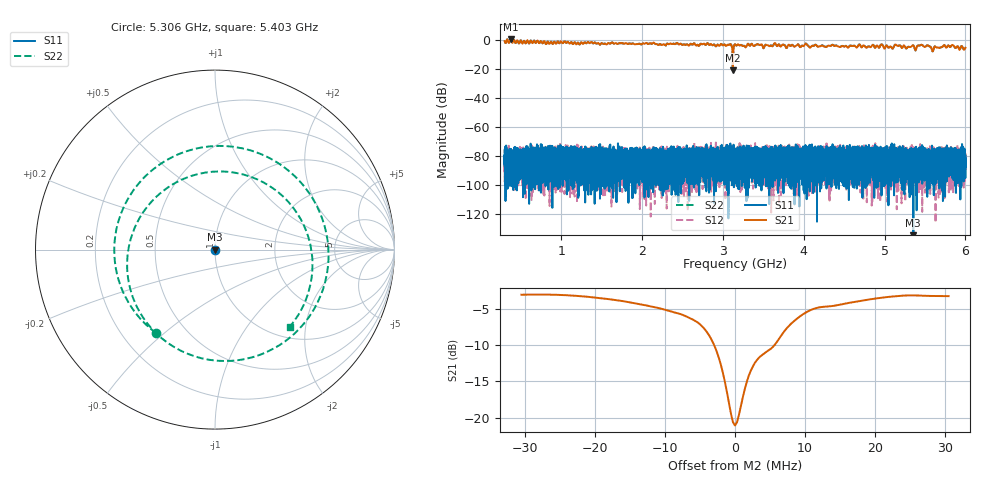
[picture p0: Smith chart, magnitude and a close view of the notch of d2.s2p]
!Agilent Technologies,N5230C,SG49000117,A.08.50.07
!Agilent N5230C: A.08.50.07
!Date: Sunday, March 17, 2024 01:27:42
!Correction: S11(Off)
!S21(Off)
!S12(Off)
!S22(Off)
!S2P File: Measurements: S11, S21, S12, S22:
# Hz S  RI  R 50
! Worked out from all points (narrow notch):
!   20001 points, 300 MHz to 6 GHz, reference 50 ohm
!   highest |S21| = 0.46 dB at 373.8 MHz (marker M1); lowest = -21.1 dB at 3.123 GHz (marker M2)
!   notch at M2: 17.6 dB deep, 5.09 MHz wide at half that depth
!   lowest |S11| = -136.3 dB at 5.356 GHz (marker M3), VSWR 1.00, Z = 50 - j9.65e-06 ohm
!   |S11| at or under -10 dB: start of sweep to end of sweep
!   |S22| runs from -21.1 to 0.5 dB; largest |S21 - S12| = 1.1
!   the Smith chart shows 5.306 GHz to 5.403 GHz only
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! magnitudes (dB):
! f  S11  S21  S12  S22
! 300 MHz  -84.8  -0.9  -86.0  -0.9
! 373.8 MHz  -79.7  0.5  -83.1  0.5
! 1.25 GHz  -76.3  -1.7  -77.7  -1.7
! 2.2 GHz  -83.5  -3.6  -76.5  -3.6
! 3.078 GHz  -78.0  -3.5  -78.9  -3.5
! 3.102 GHz  -81.3  -3.3  -80.1  -3.3
! 3.123 GHz  -75.3  -21.1  -78.8  -21.1
! 3.15 GHz  -79.4  -3.2  -76.6  -3.1
! 3.168 GHz  -78.2  -4.0  -85.9  -3.9
! 3.267 GHz  -92.6  -4.3  -81.1  -4.3
! 3.334 GHz  -82.0  -4.1  -74.3  -4.0
! 3.659 GHz  -78.8  -3.4  -79.7  -3.3
! 3.782 GHz  -81.1  -5.5  -75.2  -5.4
! 4.03 GHz  -75.2  -2.8  -84.7  -2.7
! 4.1 GHz  -95.2  -4.2  -79.8  -4.1
! 5.05 GHz  -83.5  -5.5  -78.2  -5.5
! 5.151 GHz  -88.1  -3.8  -116.8  -3.8
! 5.356 GHz  -136.3  -3.9  -81.1  -3.9
! 5.54 GHz  -79.6  -4.0  -79.9  -4.0
! 5.591 GHz  -78.3  -7.7  -74.7  -7.8
! 5.839 GHz  -93.4  -3.5  -80.8  -3.6
! 6 GHz  -81.9  -5.5  -92.5  -5.6
